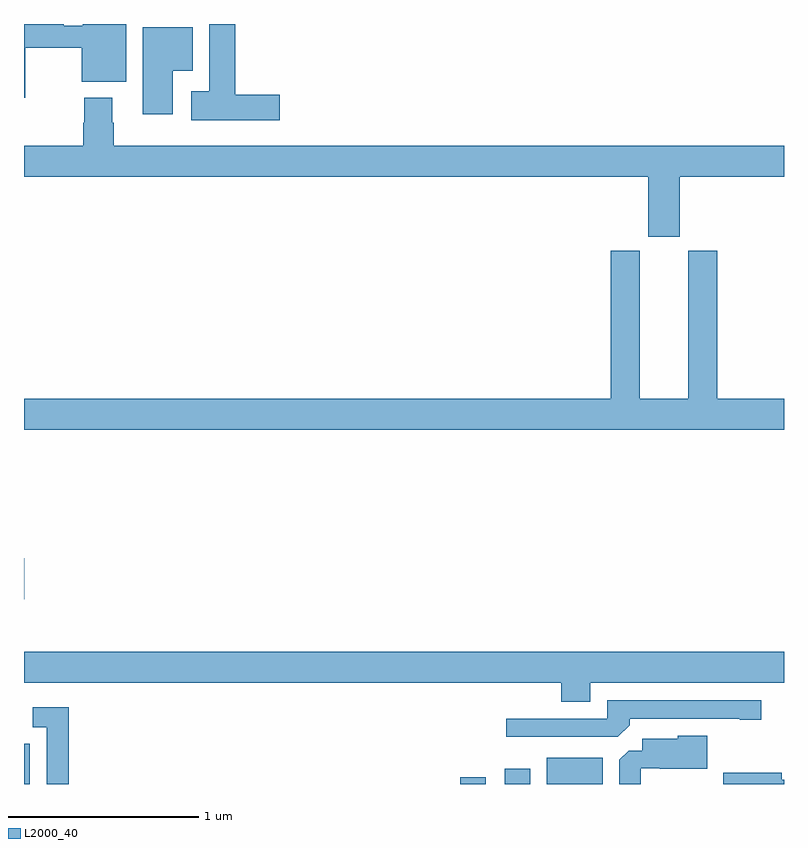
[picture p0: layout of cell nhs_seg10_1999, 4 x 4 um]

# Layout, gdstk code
import gdstk
lib = gdstk.Library(unit=1e-6, precision=1e-09)
def R(c, l, rs):  # rectangles x0, y0, x1, y1
    for r in rs: c.add(gdstk.rectangle(r[:2], r[2:], *l))
def P(c, l, *ps):  # polygons
    for p in ps: c.add(gdstk.Polygon(p, *l))
L2000_40 = (2000, 40)

nhs_seg10_1999 = lib.new_cell('nhs_seg10_1999')
R(nhs_seg10_1999, L2000_40, [(217,1250.5,217.03,1250.712), (219.296,1250.5,219.43,1250.536), (219.53,1250.5,219.664,1250.581), (219.752,1250.5,220.045,1250.638), (217,1251.473,217.001,1251.687)])
P(nhs_seg10_1999, L2000_40, [(218.347,1254.128),(218.111,1254.128),(218.111,1254.5),(217.976,1254.5),(217.976,1254.145),(217.881,1254.145),(217.881,1253.993),(218.347,1253.993)],
  [(217.006,1254.376),(217.304,1254.376),(217.304,1254.197),(217.537,1254.197),(217.537,1254.5),(217.308,1254.5),(217.308,1254.492),(217.208,1254.492),(217.208,1254.5),(217,1254.5),(217,1254.111),(217.006,1254.111)],
  [(217.783,1254.254),(217.888,1254.254),(217.888,1254.484),(217.625,1254.484),(217.625,1254.024),(217.783,1254.024)],
  [(220.45,1253.696),(221,1253.696),(221,1253.86),(217.473,1253.86),(217.473,1253.981),(217.465,1253.981),(217.465,1254.112),(217.318,1254.112),(217.318,1253.981),(217.313,1253.981),(217.313,1253.86),(217,1253.86),(217,1253.696),(220.286,1253.696),(220.286,1253.379),(220.45,1253.379)],
  [(221,1252.528),(220.649,1252.528),(220.649,1253.307),(220.496,1253.307),(220.496,1252.528),(220.24,1252.528),(220.24,1253.307),(220.088,1253.307),(220.088,1252.528),(217,1252.528),(217,1252.364),(221,1252.364)],
  [(219.979,1251.032),(221,1251.032),(221,1251.196),(217,1251.196),(217,1251.032),(219.827,1251.032),(219.827,1250.933),(219.979,1250.933)],
  [(220.187,1250.81),(220.187,1250.844),(220.766,1250.844),(220.766,1250.839),(220.879,1250.839),(220.879,1250.94),(220.071,1250.94),(220.071,1250.844),(219.537,1250.844),(219.537,1250.748),(220.125,1250.748)],
  [(217.235,1250.905),(217.047,1250.905),(217.047,1250.799),(217.119,1250.799),(217.119,1250.5),(217.235,1250.5)],
  [(220.245,1250.583),(220.345,1250.583),(220.345,1250.579),(220.597,1250.579),(220.597,1250.755),(220.44,1250.755),(220.44,1250.737),(220.253,1250.737),(220.253,1250.676),(220.182,1250.676),(220.133,1250.627),(220.133,1250.5),(220.245,1250.5)],
  [(221,1250.522),(220.987,1250.522),(220.987,1250.56),(220.68,1250.56),(220.68,1250.5),(221,1250.5)])

lib.write_gds('nhs_seg10_1999.gds')
